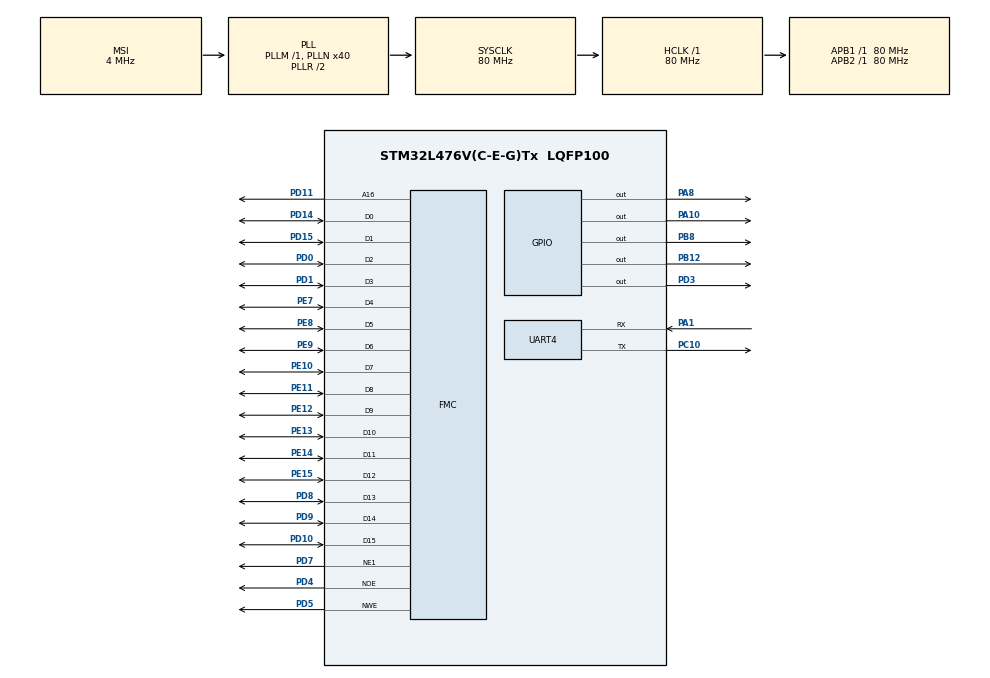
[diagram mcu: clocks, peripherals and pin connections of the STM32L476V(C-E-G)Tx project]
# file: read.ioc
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FMC.AccessMode1=FMC_ACCESS_MODE_A
FMC.AddressSetupTime1=5
FMC.AsynchronousWait1=FMC_ASYNCHRONOUS_WAIT_DISABLE
FMC.BurstAccessMode1=FMC_BURST_ACCESS_MODE_DISABLE
FMC.BusTurnAroundDuration1=5
FMC.CLKDivision1=16
FMC.ContinuousClock1=FMC_CONTINUOUS_CLOCK_SYNC_ONLY
FMC.DataAddressMux1=FMC_DATA_ADDRESS_MUX_DISABLE
FMC.DataLatency1=17
FMC.DataSetupTime1=5
FMC.Extended=FMC_NORSRAM_EXTENDED_DEVICE
FMC.NORSRAM_Instance=FMC_NORSRAM_DEVICE
FMC.NSCoherentPinout1=MEMORY_PINOUT_OK
FMC.NSMemoryDataWidth1=FMC_NORSRAM_MEM_BUS_WIDTH_16
FMC.PageSize1=FMC_PAGE_SIZE_NONE
FMC.WaitSignal1=FMC_WAIT_SIGNAL_DISABLE
FMC.WaitSignalActive1=FMC_WAIT_TIMING_BEFORE_WS
FMC.WaitSignalPolarity1=FMC_WAIT_SIGNAL_POLARITY_LOW
FMC.WriteBurst1=FMC_WRITE_BURST_DISABLE
FREERTOS.Tasks01=defaultTask,0,128,StartDefaultTask,Default,NULL
FREERTOS.configUSE_ALTERNATIVE_API=0
Mcu.Family=STM32L4
Mcu.Name=STM32L476V(C-E-G)Tx
Mcu.Package=LQFP100
NVIC.PriorityGroup=NVIC_PRIORITYGROUP_4
NVIC.TIM2_IRQn=true\:0\:0\:false\:false\:true\:false
NVIC.TimeBase=TIM2_IRQn
NVIC.TimeBaseIP=TIM2
PA1.Mode=Asynchronous
PA1.Signal=UART4_RX
PA10.Signal=GPIO_Output
PA8.Signal=GPIO_Output
PB12.Signal=GPIO_Output
PB8.Signal=GPIO_Output
PC10.Mode=Asynchronous
PC10.Signal=UART4_TX
PD0.Mode=16b-d1
PD0.Signal=FMC_D2
PD1.Mode=16b-d1
PD1.Signal=FMC_D3
PD10.Mode=16b-d1
PD10.Signal=FMC_D15
PD11.Mode=A16_1
PD11.Signal=FMC_A16
PD14.Mode=16b-d1
PD14.Signal=FMC_D0
PD15.Mode=16b-d1
PD15.Signal=FMC_D1
PD3.Signal=GPIO_Output
PD4.Mode=Lcd1
PD4.Signal=FMC_NOE
PD5.Mode=Lcd1
PD5.Signal=FMC_NWE
PD7.Mode=NorPsramChipSelect1_1
PD7.Signal=FMC_NE1
PD8.Mode=16b-d1
PD8.Signal=FMC_D13
PD9.Mode=16b-d1
PD9.Signal=FMC_D14
PE10.Mode=16b-d1
PE10.Signal=FMC_D7
PE11.Mode=16b-d1
PE11.Signal=FMC_D8
PE12.Mode=16b-d1
PE12.Signal=FMC_D9
PE13.Mode=16b-d1
PE13.Signal=FMC_D10
PE14.Mode=16b-d1
PE14.Signal=FMC_D11
PE15.Mode=16b-d1
PE15.Signal=FMC_D12
PE7.Mode=16b-d1
PE7.Signal=FMC_D4
PE8.Mode=16b-d1
PE8.Signal=FMC_D5
PE9.Mode=16b-d1
PE9.Signal=FMC_D6
PH0/OSC_IN.Mode=HSE-External-Oscillator
PH0/OSC_IN.Signal=RCC_OSC_IN
PH1/OSC_OUT.Mode=HSE-External-Oscillator
PH1/OSC_OUT.Signal=RCC_OSC_OUT
ProjectManager.HeapSize=0x200
ProjectManager.StackSize=0x400
ProjectManager.TargetToolchain=SW4STM32
RCC.AHBCLKDivider=RCC_SYSCLK_DIV1
RCC.AHBFreq_Value=80000000
RCC.APB1CLKDivider=RCC_HCLK_DIV1
RCC.APB1Freq_Value=80000000
RCC.APB1TimFreq_Value=80000000
RCC.APB2CLKDivider=RCC_HCLK_DIV1
RCC.APB2Freq_Value=80000000
RCC.APB2TimFreq_Value=80000000
RCC.ClockTypeHCLK=RCC_CLOCKTYPE_HCLK
RCC.ClockTypePCLK1=RCC_CLOCKTYPE_PCLK1
RCC.ClockTypePCLK2=RCC_CLOCKTYPE_PCLK2
RCC.ClockTypeSysClk=RCC_CLOCKTYPE_SYSCLK
RCC.CortexFreq_Value=80000000
RCC.Cortex_Div=SYSTICK_CLKSOURCE_HCLK
RCC.EnableCSSLSE=false
RCC.EnbaleCSS=false
RCC.HCLKFreq_Value=80000000
RCC.HSE_VALUE=8000000
RCC.HSI_VALUE=16000000
RCC.LSE_VALUE=32768
RCC.MSIClockRange=RCC_MSIRANGE_6
RCC.MSI_VALUE=4000000
RCC.PLLN=40
RCC.PLLP=RCC_PLLP_DIV7
RCC.PLLQ=RCC_PLLQ_DIV2
RCC.PLLR=RCC_PLLR_DIV2
RCC.PLLSAI1P=RCC_PLLP_DIV7
RCC.PLLSAI1Q=RCC_PLLQ_DIV2
RCC.PLLSAI1R=RCC_PLLR_DIV2
RCC.PLLSAI2P=RCC_PLLP_DIV7
RCC.PLLSAI2R=RCC_PLLR_DIV2
RCC.RCC_MCODiv=RCC_MCODIV_1
RCC.SYSCLKFreq_VALUE=80000000
RCC.SYSCLKSource=RCC_SYSCLKSOURCE_PLLCLK
RCC.VCOOutputFreq_Value=160000000
UART4.HwFlowCtl-Asynchronous=UART_HWCONTROL_NONE
UART4.WordLength=WORDLENGTH_8B
VP_CRC_VS_CRC.Mode=CRC_Activate
VP_FREERTOS_VS_ENABLE.Mode=Enabled
VP_SYS_VS_tim2.Mode=TIM2
board=read

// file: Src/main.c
/**
  ******************************************************************************
  * File Name          : main.c
  * Description        : Main program body
  ******************************************************************************
  *
  * Copyright (c) 2017 STMicroelectronics International N.V.
  * All rights reserved.
  *
  * Redistribution and use in source and binary forms, with or without
  * modification, are permitted, provided that the following conditions are met:
  *
  * 1. Redistribution of source code must retain the above copyright notice,
  *    this list of conditions and the following disclaimer.
  * 2. Redistributions in binary form must reproduce the above copyright notice,
  *    this list of conditions and the following disclaimer in the documentation
  *    and/or other materials provided with the distribution.
  * 3. Neither the name of STMicroelectronics nor the names of other
  *    contributors to this software may be used to endorse or promote products
  *    derived from this software without specific written permission.
  * 4. This software, including modifications and/or derivative works of this
  *    software, must execute solely and exclusively on microcontroller or
  *    microprocessor devices manufactured by or for STMicroelectronics.
  * 5. Redistribution and use of this software other than as permitted under
  *    this license is void and will automatically terminate your rights under
  *    this license.
  *
  * THIS SOFTWARE IS PROVIDED BY STMICROELECTRONICS AND CONTRIBUTORS "AS IS"
  * AND ANY EXPRESS, IMPLIED OR STATUTORY WARRANTIES, INCLUDING, BUT NOT
  * LIMITED TO, THE IMPLIED WARRANTIES OF MERCHANTABILITY, FITNESS FOR A
  * PARTICULAR PURPOSE AND NON-INFRINGEMENT OF THIRD PARTY INTELLECTUAL PROPERTY
  * RIGHTS ARE DISCLAIMED TO THE FULLEST EXTENT PERMITTED BY LAW. IN NO EVENT
  * SHALL STMICROELECTRONICS OR CONTRIBUTORS BE LIABLE FOR ANY DIRECT, INDIRECT,
  * INCIDENTAL, SPECIAL, EXEMPLARY, OR CONSEQUENTIAL DAMAGES (INCLUDING, BUT NOT
  * LIMITED TO, PROCUREMENT OF SUBSTITUTE GOODS OR SERVICES; LOSS OF USE, DATA,
  * OR PROFITS; OR BUSINESS INTERRUPTION) HOWEVER CAUSED AND ON ANY THEORY OF
  * LIABILITY, WHETHER IN CONTRACT, STRICT LIABILITY, OR TORT (INCLUDING
  * NEGLIGENCE OR OTHERWISE) ARISING IN ANY WAY OUT OF THE USE OF THIS SOFTWARE,
  * EVEN IF ADVISED OF THE POSSIBILITY OF SUCH DAMAGE.
  *
  ******************************************************************************
  */
#include "main.h"
#include "stm32l4xx_hal.h"
#include "cmsis_os.h"

/* USER CODE BEGIN Includes */
#include "stdio.h"
#include "ili9341.h"
#include "GUI.h"
/* USER CODE END Includes */

CRC_HandleTypeDef hcrc;

UART_HandleTypeDef huart4;

SRAM_HandleTypeDef hsram1;

osThreadId defaultTaskHandle;

/* USER CODE BEGIN PV */
/* Private variables ---------------------------------------------------------*/
extern GUI_CONST_STORAGE GUI_FONT GUI_Fontxiudada;
static const char zhong[]="\xe7\xbe\x9e\xe7\xad\x94\xe7\xad\x94\xe7\x9a\x84\xe7\x8e\xab\xe7\x91\xb0\xe9\x9d\x99\xe6\x82\x84\xe6\x82\x84\xe5\x9c\xb0\xe5\xbc\x80";
/* USER CODE END PV */

void SystemClock_Config(void);
void Error_Handler(void);
static void MX_GPIO_Init(void);
static void MX_CRC_Init(void);
static void MX_FMC_Init(void);
static void MX_UART4_Init(void);
void StartDefaultTask(void const * argument);

/* USER CODE BEGIN PFP */
/* Private function prototypes -----------------------------------------------*/
#ifdef __GNUC__
/* With GCC, small printf (option LD Linker->Libraries->Small printf
   set to 'Yes') calls __io_putchar() */
#define PUTCHAR_PROTOTYPE int __io_putchar(int ch)
#else
#define PUTCHAR_PROTOTYPE int fputc(int ch, FILE *f)
#endif /* __GNUC__ */
/* USER CODE END PFP */

int main(void)
{

  /* MCU Configuration----------------------------------------------------------*/

  /* Reset of all peripherals, Initializes the Flash interface and the Systick. */
  HAL_Init();

  /* Configure the system clock */
  SystemClock_Config();

  /* Initialize all configured peripherals */
  MX_GPIO_Init();
  MX_CRC_Init();
  MX_FMC_Init();
  MX_UART4_Init();

  /* USER CODE BEGIN 2 */
  HAL_GPIO_WritePin(GPIOD, GPIO_PIN_3, GPIO_PIN_SET);
  HAL_GPIO_WritePin(GPIOB, GPIO_PIN_8, GPIO_PIN_SET);
  HAL_GPIO_WritePin(GPIOA, GPIO_PIN_8 | GPIO_PIN_10, GPIO_PIN_RESET);
   LCD_Init();

  //void Lcd_GramScan( uint16_t option );
//   LCD_Clear(uint16_t x, uint16_t y, uint16_t width, uint16_t height, uint16_t color);
//  LCD_SetCursor(uint16_t x, uint16_t y);
//   LCD_OpenWindow(uint16_t x, uint16_t y, uint16_t width, uint16_t height);
//   LCD_SetPoint(uint16_t x , uint16_t y , uint16_t color);
//  uint16_t LCD_GetPoint(uint16_t x , uint16_t y);

//   LCD_DisplayLine(uint16_t x , uint16_t y , uint16_t color);
  // LCD_OpenWindow(0,0,240,320);
 //  LCD_DisplayLine(0,0,240,320,BLUE);

   GUI_Init();
   GUI_SetFont(& GUI_Fontxiudada);
   GUI_UC_SetEncodeUTF8();
   GUI_DispString(zhong);

  /* USER CODE END 2 */

  /* Create the thread(s) */
  /* definition and creation of defaultTask */
  osThreadDef(defaultTask, StartDefaultTask, osPriorityNormal, 0, 128);
  defaultTaskHandle = osThreadCreate(osThread(defaultTask), NULL);

  /* Start scheduler */
  osKernelStart();

  /* We should never get here as control is now taken by the scheduler */

  /* Infinite loop */
  while (1)
  {

  /* USER CODE BEGIN 3 */
//	    HAL_GPIO_TogglePin(GPIOA, GPIO_PIN_8 | GPIO_PIN_10);
//	    HAL_Delay(1000);
//	    LCD_Clear(0,0,319,239,YELLOW);
	  printf("hello\n\r");
  }
  /* USER CODE END 3 */

}

/** System Clock Configuration
*/
void SystemClock_Config(void)
{

  RCC_OscInitTypeDef RCC_OscInitStruct;
  RCC_ClkInitTypeDef RCC_ClkInitStruct;
  RCC_PeriphCLKInitTypeDef PeriphClkInit;

    /**Initializes the CPU, AHB and APB busses clocks
    */
  RCC_OscInitStruct.OscillatorType = RCC_OSCILLATORTYPE_MSI;
  RCC_OscInitStruct.MSIState = RCC_MSI_ON;
  RCC_OscInitStruct.MSICalibrationValue = 0;
  RCC_OscInitStruct.MSIClockRange = RCC_MSIRANGE_6;
  RCC_OscInitStruct.PLL.PLLState = RCC_PLL_ON;
  RCC_OscInitStruct.PLL.PLLSource = RCC_PLLSOURCE_MSI;
  RCC_OscInitStruct.PLL.PLLM = 1;
  RCC_OscInitStruct.PLL.PLLN = 40;
  RCC_OscInitStruct.PLL.PLLP = RCC_PLLP_DIV7;
  RCC_OscInitStruct.PLL.PLLQ = RCC_PLLQ_DIV2;
  RCC_OscInitStruct.PLL.PLLR = RCC_PLLR_DIV2;
  if (HAL_RCC_OscConfig(&RCC_OscInitStruct) != HAL_OK)
  {
    Error_Handler();
  }

    /**Initializes the CPU, AHB and APB busses clocks
    */
  RCC_ClkInitStruct.ClockType = RCC_CLOCKTYPE_HCLK|RCC_CLOCKTYPE_SYSCLK
                              |RCC_CLOCKTYPE_PCLK1|RCC_CLOCKTYPE_PCLK2;
  RCC_ClkInitStruct.SYSCLKSource = RCC_SYSCLKSOURCE_PLLCLK;
  RCC_ClkInitStruct.AHBCLKDivider = RCC_SYSCLK_DIV1;
  RCC_ClkInitStruct.APB1CLKDivider = RCC_HCLK_DIV1;
  RCC_ClkInitStruct.APB2CLKDivider = RCC_HCLK_DIV1;

  if (HAL_RCC_ClockConfig(&RCC_ClkInitStruct, FLASH_LATENCY_4) != HAL_OK)
  {
    Error_Handler();
  }

  PeriphClkInit.PeriphClockSelection = RCC_PERIPHCLK_UART4;
  PeriphClkInit.Uart4ClockSelection = RCC_UART4CLKSOURCE_PCLK1;
  if (HAL_RCCEx_PeriphCLKConfig(&PeriphClkInit) != HAL_OK)
  {
    Error_Handler();
  }

    /**Configure the main internal regulator output voltage
    */
  if (HAL_PWREx_ControlVoltageScaling(PWR_REGULATOR_VOLTAGE_SCALE1) != HAL_OK)
  {
    Error_Handler();
  }

    /**Configure the Systick interrupt time
    */
  HAL_SYSTICK_Config(HAL_RCC_GetHCLKFreq()/1000);

    /**Configure the Systick
    */
  HAL_SYSTICK_CLKSourceConfig(SYSTICK_CLKSOURCE_HCLK);

  /* SysTick_IRQn interrupt configuration */
  HAL_NVIC_SetPriority(SysTick_IRQn, 15, 0);
}

/* CRC init function */
static void MX_CRC_Init(void)
{

  hcrc.Instance = CRC;
  hcrc.Init.DefaultPolynomialUse = DEFAULT_POLYNOMIAL_ENABLE;
  hcrc.Init.DefaultInitValueUse = DEFAULT_INIT_VALUE_ENABLE;
  hcrc.Init.InputDataInversionMode = CRC_INPUTDATA_INVERSION_NONE;
  hcrc.Init.OutputDataInversionMode = CRC_OUTPUTDATA_INVERSION_DISABLE;
  hcrc.InputDataFormat = CRC_INPUTDATA_FORMAT_BYTES;
  if (HAL_CRC_Init(&hcrc) != HAL_OK)
  {
    Error_Handler();
  }

}

/* UART4 init function */
static void MX_UART4_Init(void)
{

  huart4.Instance = UART4;
  huart4.Init.BaudRate = 115200;
  huart4.Init.WordLength = UART_WORDLENGTH_8B;
  huart4.Init.StopBits = UART_STOPBITS_1;
  huart4.Init.Parity = UART_PARITY_NONE;
  huart4.Init.Mode = UART_MODE_TX_RX;
  huart4.Init.HwFlowCtl = UART_HWCONTROL_NONE;
  huart4.Init.OverSampling = UART_OVERSAMPLING_16;
  huart4.Init.OneBitSampling = UART_ONE_BIT_SAMPLE_DISABLE;
  huart4.AdvancedInit.AdvFeatureInit = UART_ADVFEATURE_NO_INIT;
  if (HAL_UART_Init(&huart4) != HAL_OK)
  {
    Error_Handler();
  }

}
/* FMC initialization function */
static void MX_FMC_Init(void)
{
  FMC_NORSRAM_TimingTypeDef Timing;

  /** Perform the SRAM1 memory initialization sequence
  */
  hsram1.Instance = FMC_NORSRAM_DEVICE;
  hsram1.Extended = FMC_NORSRAM_EXTENDED_DEVICE;
  /* hsram1.Init */
  hsram1.Init.NSBank = FMC_NORSRAM_BANK1;
  hsram1.Init.DataAddressMux = FMC_DATA_ADDRESS_MUX_DISABLE;
  hsram1.Init.MemoryType = FMC_MEMORY_TYPE_SRAM;
  hsram1.Init.MemoryDataWidth = FMC_NORSRAM_MEM_BUS_WIDTH_16;
  hsram1.Init.BurstAccessMode = FMC_BURST_ACCESS_MODE_DISABLE;
  hsram1.Init.WaitSignalPolarity = FMC_WAIT_SIGNAL_POLARITY_LOW;
  hsram1.Init.WaitSignalActive = FMC_WAIT_TIMING_BEFORE_WS;
  hsram1.Init.WriteOperation = FMC_WRITE_OPERATION_ENABLE;
  hsram1.Init.WaitSignal = FMC_WAIT_SIGNAL_DISABLE;
  hsram1.Init.ExtendedMode = FMC_EXTENDED_MODE_DISABLE;
  hsram1.Init.AsynchronousWait = FMC_ASYNCHRONOUS_WAIT_DISABLE;
  hsram1.Init.WriteBurst = FMC_WRITE_BURST_DISABLE;
  hsram1.Init.ContinuousClock = FMC_CONTINUOUS_CLOCK_SYNC_ONLY;
  hsram1.Init.PageSize = FMC_PAGE_SIZE_NONE;
  /* Timing */
  Timing.AddressSetupTime = 5;
  Timing.AddressHoldTime = 15;
  Timing.DataSetupTime = 5;
  Timing.BusTurnAroundDuration = 5;
  Timing.CLKDivision = 16;
  Timing.DataLatency = 17;
  Timing.AccessMode = FMC_ACCESS_MODE_A;
  /* ExtTiming */

  if (HAL_SRAM_Init(&hsram1, &Timing, NULL) != HAL_OK)
  {
    Error_Handler();
  }

}

/** Configure pins as
        * Analog
        * Input
        * Output
        * EVENT_OUT
        * EXTI
*/
static void MX_GPIO_Init(void)
{

  GPIO_InitTypeDef GPIO_InitStruct;

  /* GPIO Ports Clock Enable */
  __HAL_RCC_GPIOH_CLK_ENABLE();
  __HAL_RCC_GPIOA_CLK_ENABLE();
  __HAL_RCC_GPIOE_CLK_ENABLE();
  __HAL_RCC_GPIOB_CLK_ENABLE();
  __HAL_RCC_GPIOD_CLK_ENABLE();
  __HAL_RCC_GPIOC_CLK_ENABLE();

  /*Configure GPIO pin Output Level */
  HAL_GPIO_WritePin(GPIOB, GPIO_PIN_12|GPIO_PIN_8, GPIO_PIN_RESET);

  /*Configure GPIO pin Output Level */
  HAL_GPIO_WritePin(GPIOA, GPIO_PIN_8|GPIO_PIN_10, GPIO_PIN_RESET);

  /*Configure GPIO pin Output Level */
  HAL_GPIO_WritePin(GPIOD, GPIO_PIN_3, GPIO_PIN_RESET);

  /*Configure GPIO pins : PB12 PB8 */
  GPIO_InitStruct.Pin = GPIO_PIN_12|GPIO_PIN_8;
  GPIO_InitStruct.Mode = GPIO_MODE_OUTPUT_PP;
  GPIO_InitStruct.Pull = GPIO_NOPULL;
  GPIO_InitStruct.Speed = GPIO_SPEED_FREQ_LOW;
  HAL_GPIO_Init(GPIOB, &GPIO_InitStruct);

  /*Configure GPIO pins : PA8 PA10 */
  GPIO_InitStruct.Pin = GPIO_PIN_8|GPIO_PIN_10;
  GPIO_InitStruct.Mode = GPIO_MODE_OUTPUT_PP;
  GPIO_InitStruct.Pull = GPIO_NOPULL;
  GPIO_InitStruct.Speed = GPIO_SPEED_FREQ_LOW;
  HAL_GPIO_Init(GPIOA, &GPIO_InitStruct);

  /*Configure GPIO pin : PD3 */
  GPIO_InitStruct.Pin = GPIO_PIN_3;
  GPIO_InitStruct.Mode = GPIO_MODE_OUTPUT_PP;
  GPIO_InitStruct.Pull = GPIO_NOPULL;
  GPIO_InitStruct.Speed = GPIO_SPEED_FREQ_LOW;
  HAL_GPIO_Init(GPIOD, &GPIO_InitStruct);

}

/* USER CODE BEGIN 4 */
PUTCHAR_PROTOTYPE
{
  /* Place your implementation of fputc here */
  /* e.g. write a character to the USART1 and Loop until the end of transmission */
  HAL_UART_Transmit(&huart4, (uint8_t *)&ch, 1, 0xFFFF);

  return ch;
}
/* USER CODE END 4 */

/* StartDefaultTask function */
void StartDefaultTask(void const * argument)
{

  for(;;)
  {
    osDelay(1);
  }
}

void HAL_TIM_PeriodElapsedCallback(TIM_HandleTypeDef *htim)
{
  if (htim->Instance == TIM2) {
    HAL_IncTick();
  }
}

void Error_Handler(void)
{
  while(1)
  {
  }
}

/************************ (C) COPYRIGHT STMicroelectronics *****END OF FILE****/
